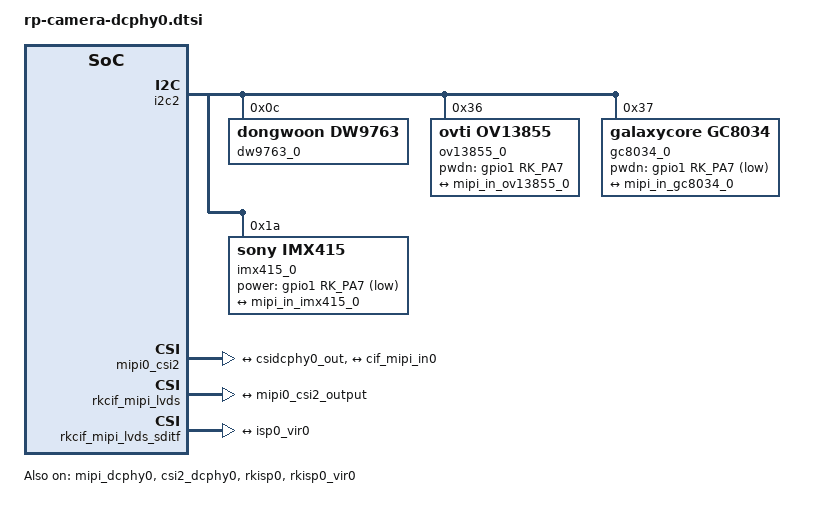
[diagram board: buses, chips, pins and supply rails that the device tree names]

&i2c2 {
	status = "okay";
	pinctrl-names = "default";
	pinctrl-0 = <&i2c2m4_xfer>;

	dw9763_0: dw9763_0@c {
                compatible = "dongwoon,dw9763";
                status = "okay";
                reg = <0x0c>;
                rockchip,vcm-max-current = <120>;
                rockchip,vcm-start-current = <20>;
                rockchip,vcm-rated-current = <90>;
                rockchip,vcm-step-mode = <3>;
                rockchip,vcm-t-src = <0x20>;
                rockchip,vcm-t-div = <1>;
                rockchip,camera-module-index = <0>;
                rockchip,camera-module-facing = "front";
        };
  
	ov13855_0: ov13855_0@36 {
		compatible = "ovti,ov13855";
		status = "okay";
		reg = <0x36>;
		clocks = <&cru CLK_MIPI_CAMARAOUT_M1>;
		clock-names = "xvclk";
		power-domains = <&power RK3588_PD_VI>;
		pinctrl-names = "default";
		pinctrl-0 = <&mipim0_camera1_clk>;
		rockchip,grf = <&sys_grf>;
		pwdn-gpios = <&gpio1 RK_PA7 GPIO_ACTIVE_HIGH>;
		rockchip,camera-module-index = <0>;
		rockchip,camera-module-facing = "front";
		rockchip,camera-module-name = "CMK-OT2016-FV1";
		rockchip,camera-module-lens-name = "default";
		lens-focus = <&dw9763_0>;
		port {
			ov13855_out0: endpoint {
				remote-endpoint = <&mipi_in_ov13855_0>;
				data-lanes = <1 2 3 4>;
			};
		};
	};
        gc8034_0: gc8034_0@37 {
                compatible = "galaxycore,gc8034";
                status = "okay";
                reg = <0x37>;
                clocks = <&cru CLK_MIPI_CAMARAOUT_M1>;
                clock-names = "xvclk";
                power-domains = <&power RK3588_PD_VI>;
                pinctrl-names = "default";
                pinctrl-0 = <&mipim0_camera1_clk>;
                rockchip,grf = <&sys_grf>;
                pwdn-gpios = <&gpio1 RK_PA7 GPIO_ACTIVE_LOW>;
                rockchip,camera-module-index = <0>;
                rockchip,camera-module-facing = "back";
                rockchip,camera-module-name = "RK-CMK-8M-2-v1";
                rockchip,camera-module-lens-name = "CK8401-4";
                port {
                        gc8034_out0: endpoint {
                                remote-endpoint = <&mipi_in_gc8034_0>;
                                data-lanes = <1 2 3 4>;
                        };
                };
        };
        imx415_0: imx415_0@1a {
                compatible = "sony,imx415";
                status = "okay";
                reg = <0x1a>;
                clocks = <&cru CLK_MIPI_CAMARAOUT_M1>;
                clock-names = "xvclk";
                power-domains = <&power RK3588_PD_VI>;
                pinctrl-names = "default";
                pinctrl-0 = <&mipim0_camera1_clk>;
                rockchip,grf = <&sys_grf>;
                power-gpios = <&gpio1 RK_PA7 GPIO_ACTIVE_LOW>;//modify camera addr 0x1a
               // reset-gpios = <&gpio1 RK_PD5 GPIO_ACTIVE_HIGH>;
                rockchip,camera-module-index = <0>;
                rockchip,camera-module-facing = "front";
                rockchip,camera-module-name = "CMK-OT2022-PX1";
                rockchip,camera-module-lens-name = "IR0147-50IRC-8M-F20";
                port {
                        imx415_out0: endpoint {
                                remote-endpoint = <&mipi_in_imx415_0>;
                                data-lanes = <1 2 3 4>;
                        };
                };
        };

};


&mipi_dcphy0 {
	status = "okay";
};

&csi2_dcphy0 {
	status = "okay";

	ports {
		#address-cells = <1>;
		#size-cells = <0>;
    port@0 {
			reg = <0>;
			#address-cells = <1>;
			#size-cells = <0>;

			mipi_in_ov13855_0: endpoint@1 {
				reg = <1>;
				remote-endpoint = <&ov13855_out0>;
        data-lanes = <1 2 3 4>;
			};
			mipi_in_gc8034_0: endpoint@2 {
				reg = <2>;
				remote-endpoint = <&gc8034_out0>;
        data-lanes = <1 2 3 4>;
			};
			mipi_in_imx415_0: endpoint@3 {
				reg = <3>;
				remote-endpoint = <&imx415_out0>;
        data-lanes = <1 2 3 4>;
			};
		};

		port@1 {
			reg = <1>;
			#address-cells = <1>;
			#size-cells = <0>;

			csidcphy0_out: endpoint@0 {
				reg = <0>;
				remote-endpoint = <&mipi0_csi2_input>;
			};
		};
	};
};

&mipi0_csi2 {
	status = "okay";

	ports {
		#address-cells = <1>;
		#size-cells = <0>;

		port@0 {
			reg = <0>;
			#address-cells = <1>;
			#size-cells = <0>;

			mipi0_csi2_input: endpoint@0 {
				reg = <0>;
				remote-endpoint = <&csidcphy0_out>;
			};
		};

		port@1 {
			reg = <1>;
			#address-cells = <1>;
			#size-cells = <0>;

			mipi0_csi2_output: endpoint@1 {
				reg = <1>;
				remote-endpoint = <&cif_mipi_in0>;
			};
		};
	};
};

&rkcif_mipi_lvds {
	status = "okay";

	port {
		cif_mipi_in0: endpoint {
			remote-endpoint = <&mipi0_csi2_output>;
		};
	};
};

&rkcif_mipi_lvds_sditf {
	status = "okay";

	port {
		mipi_lvds_sditf: endpoint {
			remote-endpoint = <&isp0_vir0>;
		};
	};
};

&rkisp0 {
	status = "okay";
};

&isp0_mmu {
	status = "okay";
};

&rkisp0_vir0 {
	status = "okay";
	port {
		#address-cells = <1>;
		#size-cells = <0>;

		isp0_vir0: endpoint@0 {
			reg = <0>;
			remote-endpoint = <&mipi_lvds_sditf>;
		};
	};
};



